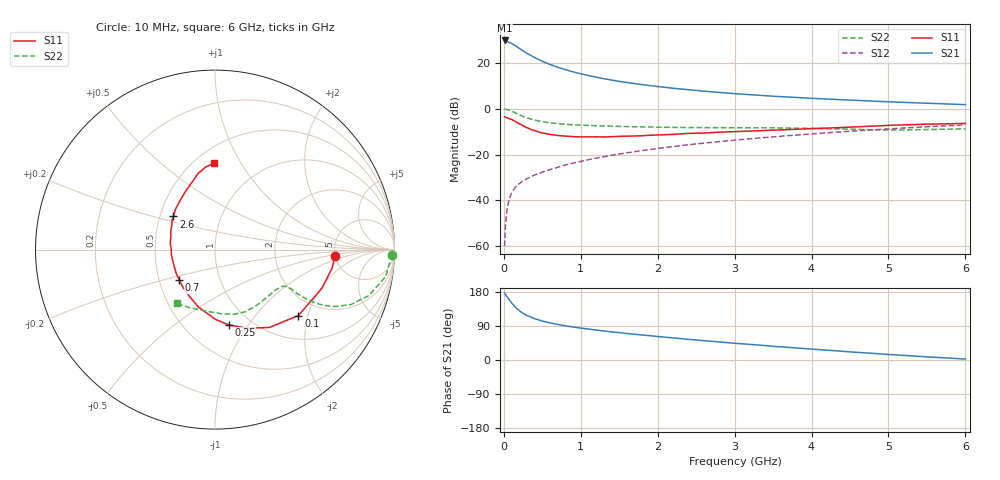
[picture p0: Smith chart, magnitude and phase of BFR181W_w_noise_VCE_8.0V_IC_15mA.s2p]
! (c) 2017  Infineon Technologies AG, Munich
! Infineon Technologies  Discrete & RF Semiconductors
! BFR181W
! VCE =  8.0 V,  IC =  15 mA
! Common Emitter S-Parameters:  Jan 2017
# GHz  S  MA  R  50
!  f  S11  S21  S12  S22
! GHz  MAG  ANG  MAG  ANG  MAG  ANG  MAG  ANG
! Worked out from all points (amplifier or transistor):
!   77 points, 10 MHz to 6 GHz, reference 50 ohm
!   highest |S21| = 29.9 dB at 10 MHz (marker M1)
!   |S21| within 3 dB of that: start of sweep to 181.2 MHz
!   unconditionally stable (mu >= 1): 893.9 MHz to 2.682 GHz
!   at 130 MHz: K = 0.34, MSG = 31.6 dB, |S12| = -35.1 dB
!   at 2.2 GHz: K = 1.03, MAG = 11.7 dB, |S12| = -16.5 dB
!   at 6 GHz: K = 0.84, MSG = 4.4 dB, |S12| = -7.0 dB
!   lowest NFmin = 1.47 dB at 450 MHz
!   S11 on the Smith chart (normalised r, x): 10 MHz: 4.99, -0.62; 100 MHz: 1.54, -1.74; 250 MHz: 0.79, -0.82; 700 MHz: 0.63, -0.23; 2.6 GHz: 0.59, +0.24; 6 GHz: 0.62, +0.77
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0.01  0.6706 -2.9  31.16 176.5  0.001 87.4  0.9879 -1.6
0.02  0.6599 -9.2  30.67 172.8  0.0026 97.1  0.9797 -3.4
0.05  0.6338 -19.8  29.59 164.4  0.0077 82.7  0.9627 -9.0
0.1  0.5925 -38.3  26.96 150.6  0.0145 75.4  0.8951 -16.6
0.15  0.5293 -55.0  23.98 139.4  0.0195 68.2  0.8173 -22.0
0.2  0.4738 -67.7  20.98 130.2  0.0231 67.8  0.7446 -25.2
0.25  0.4265 -79.7  18.51 123.0  0.0268 64.9  0.6843 -27.1
0.3  0.3877 -89.9  16.34 117.4  0.0298 64.8  0.6349 -28.0
0.4  0.3335 -105.8  13.18 108.9  0.036 65.1  0.567 -28.4
0.5  0.2968 -118.7  10.92 102.8  0.0413 65.4  0.524 -28.2
0.6  0.2762 -130.0  9.318 97.9  0.0471 65.7  0.4951 -27.7
0.7  0.2617 -139.7  8.1 93.8  0.0528 67.9  0.475 -27.3
0.9  0.2471 -155.5  6.419 87.0  0.0651 68.9  0.4494 -27.4
1.1  0.2437 -168.0  5.334 81.6  0.0775 70.2  0.4342 -28.1
1.3  0.2432 -178.8  4.555 76.6  0.0898 70.2  0.4225 -29.4
1.5  0.2504 173.0  3.989 72.2  0.1032 70.4  0.4133 -31.4
2.1  0.2724 153.3  2.941 60.2  0.1431 68.6  0.3953 -39.7
2.6  0.2961 141.4  2.432 51.0  0.1779 66.6  0.3887 -48.5
3.1  0.3219 130.8  2.096 42.7  0.2141 63.6  0.3857 -57.4
4.1  0.3739 114.1  1.668 27.3  0.2911 56.7  0.3713 -75.5
5.1  0.4401 101.2  1.404 13.4  0.3723 48.0  0.3458 -100.8
6  0.4805 90.8  1.235 2.5  0.4459 39.2  0.3684 -125.6
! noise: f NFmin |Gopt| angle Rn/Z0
0.45  1.47  0.04  14  0.21
0.9  1.52  0.04  31  0.21
1.9  1.95  0.13  -139  0.22
2.4  2.2  0.16  -109  0.28
